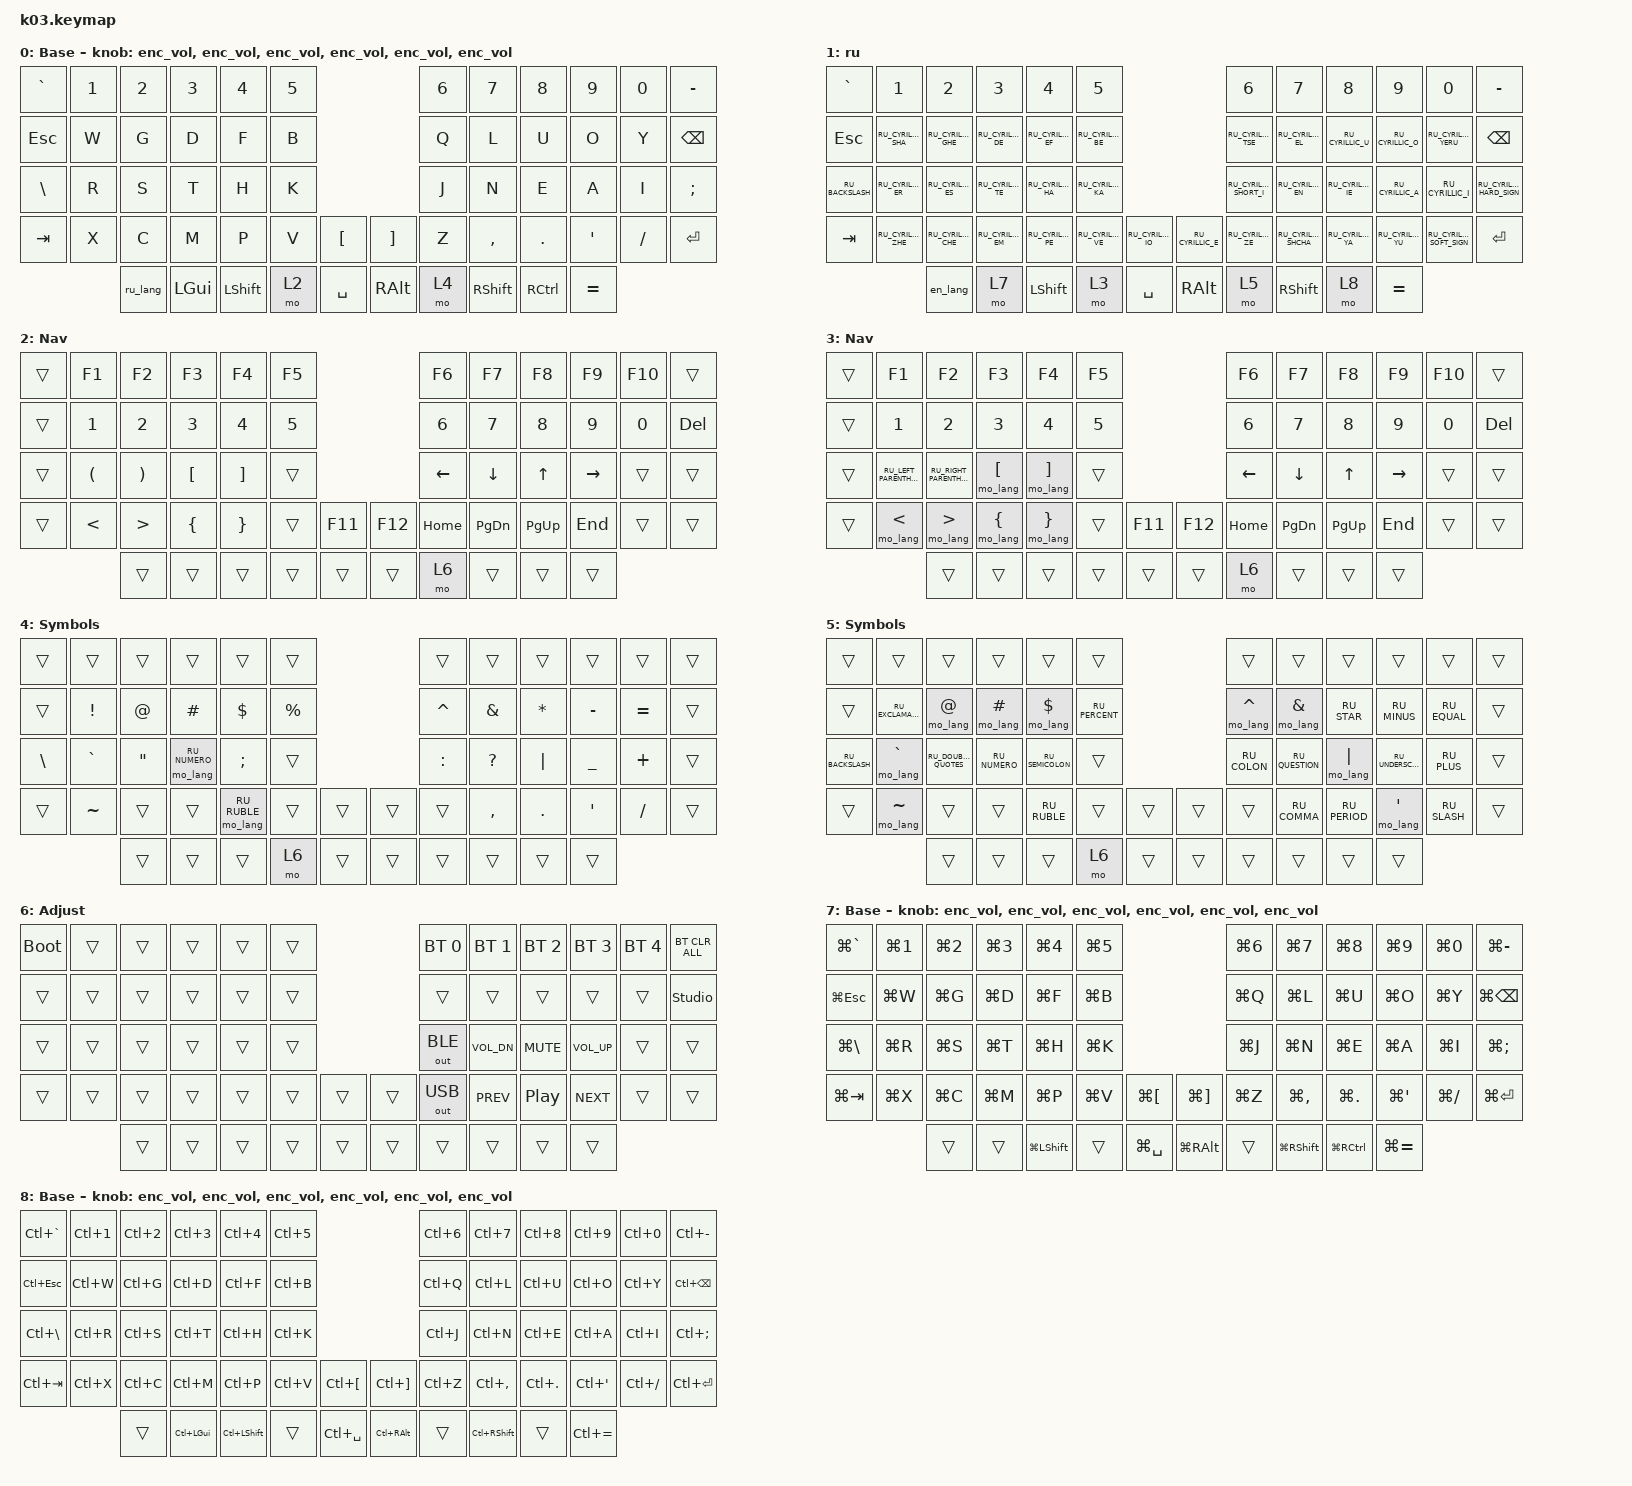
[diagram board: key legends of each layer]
#include "keys_ru.h"
#include <behaviors.dtsi>
#include <dt-bindings/zmk/bt.h>
#include <dt-bindings/zmk/keys.h>
#include <dt-bindings/zmk/outputs.h>

/ {
    behaviors {
        enc_vol: enc_vol {
            compatible = "zmk,behavior-sensor-rotate";
            label = "ENC_VOL";
            #sensor-binding-cells = <0>;
            bindings = <&kp C_VOL_UP>, <&kp C_VOL_DN>;
        };
    };

    macros {
        ru_lang: ru_lang {
            compatible = "zmk,behavior-macro";
            #binding-cells = <0>;
            bindings = <&to 1 &tg_lang>;
            label = "RU_LANG";
        };

        en_lang: en_lang {
            compatible = "zmk,behavior-macro";
            #binding-cells = <0>;
            bindings = <&to 0 &tg_lang>;
            label = "EN_LANG";
        };

        tg_lang: tg_lang {
            compatible = "zmk,behavior-macro";
            #binding-cells = <0>;
            bindings = <&kp LG(SPACE)>;
            label = "TG_LANG";
        };

        mo_lang: en {
            compatible = "zmk,behavior-macro-one-param";
            #binding-cells = <1>;
            bindings =
                <&tg_lang>,
                <&macro_wait_time 30>,
                <&macro_press>,
                <&macro_param_1to1 &kp MACRO_PLACEHOLDER>,
                <&macro_pause_for_release>,
                <&macro_release>,
                <&macro_param_1to1 &kp MACRO_PLACEHOLDER>,
                <&macro_tap>,
                <&macro_wait_time 30>,
                <&tg_lang>;

            label = "EN";
            wait-ms = <30>;
            tap-ms = <30>;
        };
    };

    keymap {
        compatible = "zmk,keymap";

        en {
            bindings = <
&kp GRAVE      &kp N1  &kp N2    &kp N3    &kp N4     &kp N5                         &kp N6  &kp N7     &kp N8      &kp N9     &kp N0    &kp MINUS
&kp ESC        &kp W   &kp G     &kp D     &kp F      &kp B                          &kp Q   &kp L      &kp U       &kp O      &kp Y     &kp BACKSPACE
&kp BACKSLASH  &kp R   &kp S     &kp T     &kp H      &kp K                          &kp J   &kp N      &kp E       &kp A      &kp I     &kp SEMI
&kp TAB        &kp X   &kp C     &kp M     &kp P      &kp V   &kp LBKT     &kp RBKT  &kp Z   &kp COMMA  &kp PERIOD  &kp SQT    &kp FSLH  &kp ENTER
                       &ru_lang  &kp LGUI  &kp LSHFT  &mo 2   &kp SPACE    &kp RALT  &mo 4   &kp RSHFT  &kp RCTRL   &kp EQUAL
            >;

            display-name = "Base";
            sensor-bindings =
                <&enc_vol>,
                <&enc_vol>,
                <&enc_vol>,
                <&enc_vol>,
                <&enc_vol>,
                <&enc_vol>;
        };

        ru {
            bindings = <
&kp GRAVE         &kp N1               &kp N2               &kp N3              &kp N4              &kp N5                                                       &kp N6                   &kp N7                 &kp N8              &kp N9              &kp N0                     &kp MINUS
&kp ESC           &kp RU_CYRILLIC_SHA  &kp RU_CYRILLIC_GHE  &kp RU_CYRILLIC_DE  &kp RU_CYRILLIC_EF  &kp RU_CYRILLIC_BE                                           &kp RU_CYRILLIC_TSE      &kp RU_CYRILLIC_EL     &kp RU_CYRILLIC_U   &kp RU_CYRILLIC_O   &kp RU_CYRILLIC_YERU       &kp BSPC
&kp RU_BACKSLASH  &kp RU_CYRILLIC_ER   &kp RU_CYRILLIC_ES   &kp RU_CYRILLIC_TE  &kp RU_CYRILLIC_HA  &kp RU_CYRILLIC_KA                                           &kp RU_CYRILLIC_SHORT_I  &kp RU_CYRILLIC_EN     &kp RU_CYRILLIC_IE  &kp RU_CYRILLIC_A   &kp RU_CYRILLIC_I          &kp RU_CYRILLIC_HARD_SIGN
&kp TAB           &kp RU_CYRILLIC_ZHE  &kp RU_CYRILLIC_CHE  &kp RU_CYRILLIC_EM  &kp RU_CYRILLIC_PE  &kp RU_CYRILLIC_VE  &kp RU_CYRILLIC_IO    &kp RU_CYRILLIC_E  &kp RU_CYRILLIC_ZE       &kp RU_CYRILLIC_SHCHA  &kp RU_CYRILLIC_YA  &kp RU_CYRILLIC_YU  &kp RU_CYRILLIC_SOFT_SIGN  &kp RET
                                       &en_lang             &mo 7               &kp LSHFT           &mo 3               &kp SPACE             &kp RALT           &mo 5                    &kp RSHFT              &mo 8               &kp EQUAL
            >;
        };

        nav_en {
            bindings = <
&trans  &kp F1                &kp F2                 &kp F3            &kp F4             &kp F5                            &kp F6        &kp F7     &kp F8        &kp F9           &kp F10       &trans
&trans  &kp N1                &kp NUMBER_2           &kp NUMBER_3      &kp NUMBER_4       &kp NUMBER_5                      &kp NUMBER_6  &kp N7     &kp N8        &kp N9           &kp NUMBER_0  &kp DEL
&trans  &kp LEFT_PARENTHESIS  &kp RIGHT_PARENTHESIS  &kp LEFT_BRACKET  &kp RIGHT_BRACKET  &trans                            &kp LEFT      &kp DOWN   &kp UP_ARROW  &kp RIGHT_ARROW  &trans        &trans
&trans  &kp LT                &kp GT                 &kp LEFT_BRACE    &kp RIGHT_BRACE    &trans        &kp F11    &kp F12  &kp HOME      &kp PG_DN  &kp PG_UP     &kp END          &trans        &trans
                              &trans                 &trans            &trans             &trans        &trans     &trans   &mo 6         &trans     &trans        &trans
            >;

            display-name = "Nav";
        };

        nav_ru {
            display-name = "Nav";
            bindings = <
&trans  &kp F1                   &kp F2                    &kp F3                 &kp F4                  &kp F5                            &kp F6        &kp F7     &kp F8        &kp F9           &kp F10       &trans
&trans  &kp N1                   &kp NUMBER_2              &kp NUMBER_3           &kp NUMBER_4            &kp NUMBER_5                      &kp NUMBER_6  &kp N7     &kp N8        &kp N9           &kp NUMBER_0  &kp DEL
&trans  &kp RU_LEFT_PARENTHESIS  &kp RU_RIGHT_PARENTHESIS  &mo_lang LEFT_BRACKET  &mo_lang RIGHT_BRACKET  &trans                            &kp LEFT      &kp DOWN   &kp UP_ARROW  &kp RIGHT_ARROW  &trans        &trans
&trans  &mo_lang LT              &mo_lang GT               &mo_lang LEFT_BRACE    &mo_lang RIGHT_BRACE    &trans        &kp F11    &kp F12  &kp HOME      &kp PG_DN  &kp PG_UP     &kp END          &trans        &trans
                                 &trans                    &trans                 &trans                  &trans        &trans     &trans   &mo 6         &trans     &trans        &trans
            >;
        };

        sym_en {
            bindings = <
&trans         &trans           &trans             &trans              &trans             &trans                         &trans     &trans        &trans      &trans          &trans     &trans
&trans         &kp EXCLAMATION  &kp AT             &kp HASH            &kp DLLR           &kp PERCENT                    &kp CARET  &kp AMPS      &kp STAR    &kp MINUS       &kp EQUAL  &trans
&kp BACKSLASH  &kp GRAVE        &kp DOUBLE_QUOTES  &mo_lang RU_NUMERO  &kp SEMICOLON      &trans                         &kp COLON  &kp QUESTION  &kp PIPE    &kp UNDERSCORE  &kp PLUS   &trans
&trans         &kp TILDE        &trans             &trans              &mo_lang RU_RUBLE  &trans       &trans    &trans  &trans     &kp COMMA     &kp PERIOD  &kp APOS        &kp SLASH  &trans
                                &trans             &trans              &trans             &mo 6        &trans    &trans  &trans     &trans        &trans      &trans
            >;

            display-name = "Symbols";
        };

        sym_ru {
            display-name = "Symbols";
            bindings = <
&trans            &trans              &trans                &trans         &trans            &trans                            &trans          &trans           &trans         &trans               &trans        &trans
&trans            &kp RU_EXCLAMATION  &mo_lang AT           &mo_lang HASH  &mo_lang DLLR     &kp RU_PERCENT                    &mo_lang CARET  &mo_lang AMPS    &kp RU_STAR    &kp RU_MINUS         &kp RU_EQUAL  &trans
&kp RU_BACKSLASH  &mo_lang GRAVE      &kp RU_DOUBLE_QUOTES  &kp RU_NUMERO  &kp RU_SEMICOLON  &trans                            &kp RU_COLON    &kp RU_QUESTION  &mo_lang PIPE  &kp RU_UNDERSCORE    &kp RU_PLUS   &trans
&trans            &mo_lang TILDE      &trans                &trans         &kp RU_RUBLE      &trans          &trans    &trans  &trans          &kp RU_COMMA     &kp RU_PERIOD  &mo_lang APOSTROPHE  &kp RU_SLASH  &trans
                                      &trans                &trans         &trans            &mo 6           &trans    &trans  &trans          &trans           &trans         &trans
            >;
        };

        adj {
            bindings = <
&bootloader  &trans  &trans  &trans  &trans  &trans                    &bt BT_SEL 0  &bt BT_SEL 1  &bt BT_SEL 2      &bt BT_SEL 3  &bt BT_SEL 4  &bt BT_CLR_ALL
&trans       &trans  &trans  &trans  &trans  &trans                    &trans        &trans        &trans            &trans        &trans        &studio_unlock
&trans       &trans  &trans  &trans  &trans  &trans                    &out OUT_BLE  &kp C_VOL_DN  &kp C_MUTE        &kp C_VOL_UP  &trans        &trans
&trans       &trans  &trans  &trans  &trans  &trans  &trans    &trans  &out OUT_USB  &kp C_PREV    &kp C_PLAY_PAUSE  &kp C_NEXT    &trans        &trans
                     &trans  &trans  &trans  &trans  &trans    &trans  &trans        &trans        &trans            &trans
            >;

            display-name = "Adjust";
        };

        cmd_ru {
            display-name = "Base";
            bindings = <
&kp LG(GRAVE)      &kp LG(N1)  &kp LG(N2)  &kp LG(N3)  &kp LG(N4)     &kp LG(N5)                                 &kp LG(N6)  &kp LG(N7)     &kp LG(N8)      &kp LG(N9)     &kp LG(N0)    &kp LG(MINUS)
&kp LG(ESC)        &kp LG(W)   &kp LG(G)   &kp LG(D)   &kp LG(F)      &kp LG(B)                                  &kp LG(Q)   &kp LG(L)      &kp LG(U)       &kp LG(O)      &kp LG(Y)     &kp LG(BACKSPACE)
&kp LG(BACKSLASH)  &kp LG(R)   &kp LG(S)   &kp LG(T)   &kp LG(H)      &kp LG(K)                                  &kp LG(J)   &kp LG(N)      &kp LG(E)       &kp LG(A)      &kp LG(I)     &kp LG(SEMI)
&kp LG(TAB)        &kp LG(X)   &kp LG(C)   &kp LG(M)   &kp LG(P)      &kp LG(V)   &kp LG(LBKT)     &kp LG(RBKT)  &kp LG(Z)   &kp LG(COMMA)  &kp LG(PERIOD)  &kp LG(SQT)    &kp LG(FSLH)  &kp LG(ENTER)
                               &trans      &trans      &kp LG(LSHFT)  &trans      &kp LG(SPACE)    &kp LG(RALT)  &trans      &kp LG(RSHFT)  &kp LG(RCTRL)   &kp LG(EQUAL)
            >;

            sensor-bindings =
                <&enc_vol>,
                <&enc_vol>,
                <&enc_vol>,
                <&enc_vol>,
                <&enc_vol>,
                <&enc_vol>;
        };

        ctrl_ru {
            display-name = "Base";
            bindings = <
&kp LC(GRAVE)      &kp LC(N1)  &kp LC(N2)  &kp LC(N3)        &kp LC(N4)     &kp LC(N5)                                 &kp LC(N6)  &kp LC(N7)     &kp LC(N8)      &kp LC(N9)     &kp LC(N0)    &kp LC(MINUS)
&kp LC(ESC)        &kp LC(W)   &kp LC(G)   &kp LC(D)         &kp LC(F)      &kp LC(B)                                  &kp LC(Q)   &kp LC(L)      &kp LC(U)       &kp LC(O)      &kp LC(Y)     &kp LC(BACKSPACE)
&kp LC(BACKSLASH)  &kp LC(R)   &kp LC(S)   &kp LC(T)         &kp LC(H)      &kp LC(K)                                  &kp LC(J)   &kp LC(N)      &kp LC(E)       &kp LC(A)      &kp LC(I)     &kp LC(SEMI)
&kp LC(TAB)        &kp LC(X)   &kp LC(C)   &kp LC(M)         &kp LC(P)      &kp LC(V)   &kp LC(LBKT)     &kp LC(RBKT)  &kp LC(Z)   &kp LC(COMMA)  &kp LC(PERIOD)  &kp LC(SQT)    &kp LC(FSLH)  &kp LC(ENTER)
                               &trans      &kp LC(LEFT_GUI)  &kp LC(LSHFT)  &trans      &kp LC(SPACE)    &kp LC(RALT)  &trans      &kp LC(RSHFT)  &trans          &kp LC(EQUAL)
            >;

            sensor-bindings =
                <&enc_vol>,
                <&enc_vol>,
                <&enc_vol>,
                <&enc_vol>,
                <&enc_vol>,
                <&enc_vol>;
        };
    };
};
